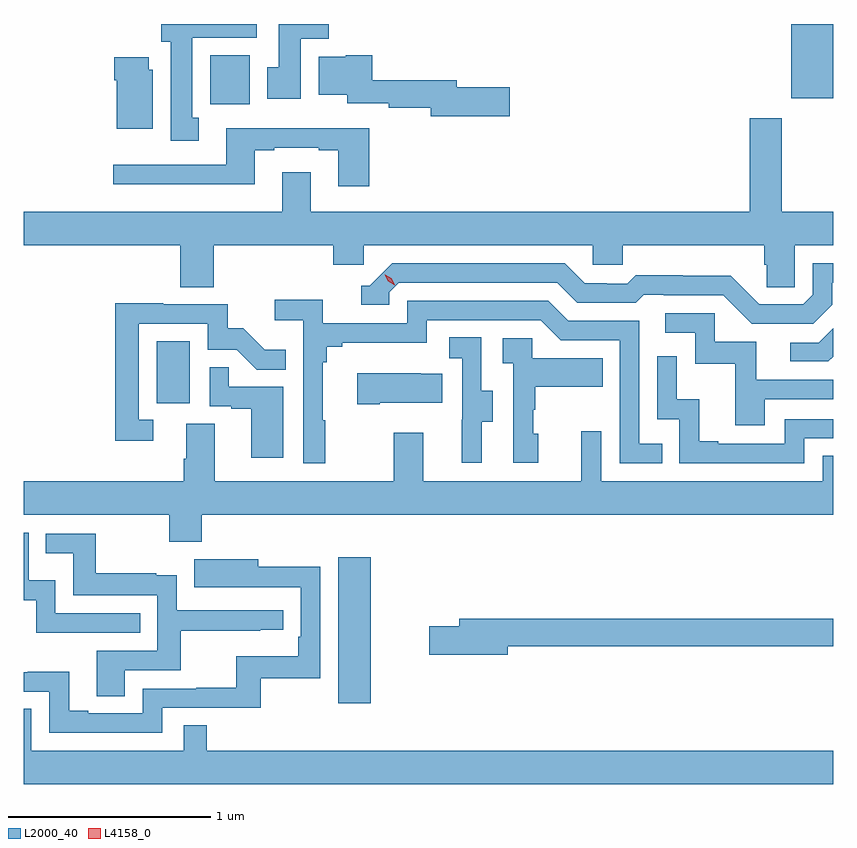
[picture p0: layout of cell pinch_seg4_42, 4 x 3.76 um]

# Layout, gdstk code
import gdstk
lib = gdstk.Library(unit=1e-6, precision=1e-09)
def R(c, l, rs):  # rectangles x0, y0, x1, y1
    for r in rs: c.add(gdstk.rectangle(r[:2], r[2:], *l))
def P(c, l, *ps):  # polygons
    for p in ps: c.add(gdstk.Polygon(p, *l))
L2000_40 = (2000, 40)
L4158_0 = (4158, 0)

pinch_seg4_42 = lib.new_cell('pinch_seg4_42')
R(pinch_seg4_42, L2000_40, [(1121.039,818.532,1121.2,819.253), (1120.142,820.014,1120.306,820.321), (1120.406,821.492,1120.603,821.734), (1123.28,821.522,1123.486,821.889)])
P(pinch_seg4_42, L2000_40, [(1120.855,821.816),(1120.994,821.816),(1120.994,821.889),(1120.745,821.889),(1120.745,821.676),(1120.688,821.676),(1120.688,821.52),(1120.855,821.52)],
  [(1120.351,821.426),(1120.318,821.426),(1120.318,821.822),(1120.636,821.822),(1120.636,821.889),(1120.166,821.889),(1120.166,821.802),(1120.211,821.802),(1120.211,821.313),(1120.351,821.313)],
  [(1121.887,821.576),(1121.626,821.576),(1121.626,821.612),(1121.207,821.612),(1121.207,821.734),(1121.076,821.734),(1121.076,821.728),(1120.943,821.728),(1120.943,821.54),(1121.084,821.54),(1121.084,821.496),(1121.29,821.496),(1121.29,821.476),(1121.498,821.476),(1121.498,821.434),(1121.887,821.434)],
  [(1120.123,821.664),(1120.102,821.664),(1120.102,821.725),(1119.932,821.725),(1119.932,821.612),(1119.944,821.612),(1119.944,821.372),(1120.123,821.372)],
  [(1120.424,820.796),(1121.015,820.796),(1121.015,820.698),(1121.166,820.698),(1121.166,820.796),(1122.297,820.796),(1122.297,820.698),(1122.447,820.698),(1122.447,820.796),(1123.145,820.796),(1123.145,820.698),(1123.159,820.698),(1123.159,820.588),(1123.296,820.588),(1123.296,820.796),(1123.486,820.796),(1123.486,820.96),(1123.233,820.96),(1123.233,821.422),(1123.073,821.422),(1123.073,820.96),(1120.903,820.96),(1120.903,821.155),(1120.763,821.155),(1120.763,820.96),(1119.486,820.96),(1119.486,820.796),(1120.259,820.796),(1120.259,820.588),(1120.424,820.588)],
  [(1121.192,821.374),(1120.487,821.374),(1120.487,821.193),(1119.927,821.193),(1119.927,821.096),(1120.627,821.096),(1120.627,821.265),(1120.723,821.265),(1120.723,821.277),(1120.943,821.277),(1120.943,821.265),(1121.039,821.265),(1121.039,821.088),(1121.192,821.088)],
  [(1123.483,820.501),(1123.483,820.611),(1123.486,820.611),(1123.486,820.707),(1123.386,820.707),(1123.386,820.551),(1123.338,820.503),(1123.122,820.503),(1122.98,820.645),(1122.744,820.645),(1122.744,820.648),(1122.511,820.648),(1122.469,820.605),(1122.366,820.605),(1122.366,820.608),(1122.259,820.608),(1122.16,820.707),(1121.307,820.707),(1121.196,820.596),(1121.153,820.596),(1121.153,820.5),(1121.292,820.5),(1121.292,820.563),(1121.34,820.611),(1122.123,820.611),(1122.222,820.512),(1122.511,820.512),(1122.55,820.551),(1122.649,820.551),(1122.649,820.548),(1122.942,820.548),(1123.083,820.407),(1123.389,820.407)],
  [(1120.975,819.929),(1120.963,819.929),(1120.963,820.217),(1120.982,820.217),(1120.982,820.294),(1121.059,820.294),(1121.059,820.313),(1121.478,820.313),(1121.478,820.425),(1122.042,820.425),(1122.141,820.326),(1122.432,820.326),(1122.432,819.717),(1122.641,819.717),(1122.641,819.813),(1122.528,819.813),(1122.528,820.422),(1122.178,820.422),(1122.079,820.521),(1121.382,820.521),(1121.382,820.41),(1120.964,820.41),(1120.964,820.526),(1120.725,820.526),(1120.725,820.424),(1120.866,820.424),(1120.866,819.717),(1120.975,819.717)],
  [(1120.126,819.933),(1120.053,819.933),(1120.053,820.407),(1120.395,820.407),(1120.395,820.278),(1120.539,820.278),(1120.637,820.18),(1120.781,820.18),(1120.781,820.279),(1120.677,820.279),(1120.57,820.386),(1120.494,820.386),(1120.494,820.503),(1120.175,820.503),(1120.175,820.508),(1119.937,820.508),(1119.937,819.828),(1120.126,819.828)],
  [(1123.147,820.035),(1123.486,820.035),(1123.486,820.131),(1123.105,820.131),(1123.105,820.317),(1122.9,820.317),(1122.9,820.458),(1122.657,820.458),(1122.657,820.362),(1122.804,820.362),(1122.804,820.209),(1123.003,820.209),(1123.003,819.906),(1123.147,819.906)],
  [(1123.486,820.245),(1123.486,820.384),(1123.416,820.314),(1123.275,820.314),(1123.275,820.221),(1123.462,820.221)],
  [(1121.749,819.922),(1121.803,819.922),(1121.803,820.077),(1121.748,820.077),(1121.748,820.34),(1121.589,820.34),(1121.589,820.237),(1121.652,820.237),(1121.652,819.933),(1121.651,819.933),(1121.651,819.72),(1121.749,819.72)],
  [(1122.028,819.864),(1122.003,819.864),(1122.003,819.983),(1122.013,819.983),(1122.013,820.097),(1122.347,820.097),(1122.347,820.237),(1122,820.237),(1122,820.335),(1121.853,820.335),(1121.853,820.211),(1121.904,820.211),(1121.904,819.72),(1122.028,819.72)],
  [(1123.344,819.84),(1123.486,819.84),(1123.486,819.936),(1123.248,819.936),(1123.248,819.813),(1122.919,819.813),(1122.919,819.826),(1122.824,819.826),(1122.824,820.034),(1122.714,820.034),(1122.714,820.246),(1122.618,820.246),(1122.618,819.936),(1122.726,819.936),(1122.726,819.717),(1123.344,819.717)],
  [(1120.768,820.095),(1120.499,820.095),(1120.499,820.193),(1120.404,820.193),(1120.404,819.999),(1120.511,819.999),(1120.511,819.987),(1120.61,819.987),(1120.61,819.744),(1120.768,819.744)],
  [(1121.245,820.016),(1121.555,820.016),(1121.555,820.159),(1121.447,820.159),(1121.447,820.162),(1121.133,820.162),(1121.133,820.009),(1121.245,820.009)],
  [(1120.364,819.464),(1123.486,819.464),(1123.486,819.755),(1123.434,819.755),(1123.434,819.628),(1122.339,819.628),(1122.339,819.877),(1122.242,819.877),(1122.242,819.628),(1121.461,819.628),(1121.461,819.868),(1121.314,819.868),(1121.314,819.628),(1120.429,819.628),(1120.429,819.914),(1120.289,819.914),(1120.289,819.74),(1120.277,819.74),(1120.277,819.628),(1119.486,819.628),(1119.486,819.464),(1120.204,819.464),(1120.204,819.329),(1120.364,819.329)],
  [(1120.061,818.976),(1119.642,818.976),(1119.642,819.139),(1119.51,819.139),(1119.51,819.375),(1119.486,819.375),(1119.486,819.041),(1119.546,819.041),(1119.546,818.88),(1120.061,818.88)],
  [(1119.985,818.694),(1120.262,818.694),(1120.262,818.89),(1120.655,818.89),(1120.655,818.895),(1120.768,818.895),(1120.768,818.991),(1120.242,818.991),(1120.242,819.163),(1120.139,819.163),(1120.139,819.175),(1119.841,819.175),(1119.841,819.369),(1119.595,819.369),(1119.595,819.272),(1119.73,819.272),(1119.73,819.066),(1120.146,819.066),(1120.146,818.79),(1119.845,818.79),(1119.845,818.566),(1119.985,818.566)],
  [(1120.17,818.508),(1120.657,818.508),(1120.657,818.655),(1120.95,818.655),(1120.95,819.206),(1120.645,819.206),(1120.645,819.244),(1120.327,819.244),(1120.327,819.104),(1120.541,819.104),(1120.541,819.105),(1120.854,819.105),(1120.854,818.86),(1120.841,818.86),(1120.841,818.764),(1120.536,818.764),(1120.536,818.609),(1120.339,818.609),(1120.339,818.604),(1120.074,818.604),(1120.074,818.481),(1119.805,818.481),(1119.805,818.494),(1119.709,818.494),(1119.709,818.687),(1119.504,818.687),(1119.504,818.685),(1119.486,818.685),(1119.486,818.589),(1119.612,818.589),(1119.612,818.385),(1120.17,818.385)],
  [(1121.878,818.812),(1123.486,818.812),(1123.486,818.948),(1121.639,818.948),(1121.639,818.912),(1121.49,818.912),(1121.49,818.77),(1121.878,818.77)],
  [(1123.486,818.296),(1120.391,818.296),(1120.391,818.423),(1120.275,818.423),(1120.275,818.296),(1119.523,818.296),(1119.523,818.504),(1119.486,818.504),(1119.486,818.132),(1123.486,818.132)])
P(pinch_seg4_42, L4158_0, [(1121.318,820.598),(1121.287,820.618),(1121.27,820.65),(1121.27,820.65),(1121.271,820.65),(1121.302,820.631),(1121.318,820.599),(1121.318,820.598)])

lib.write_gds('pinch_seg4_42.gds')
